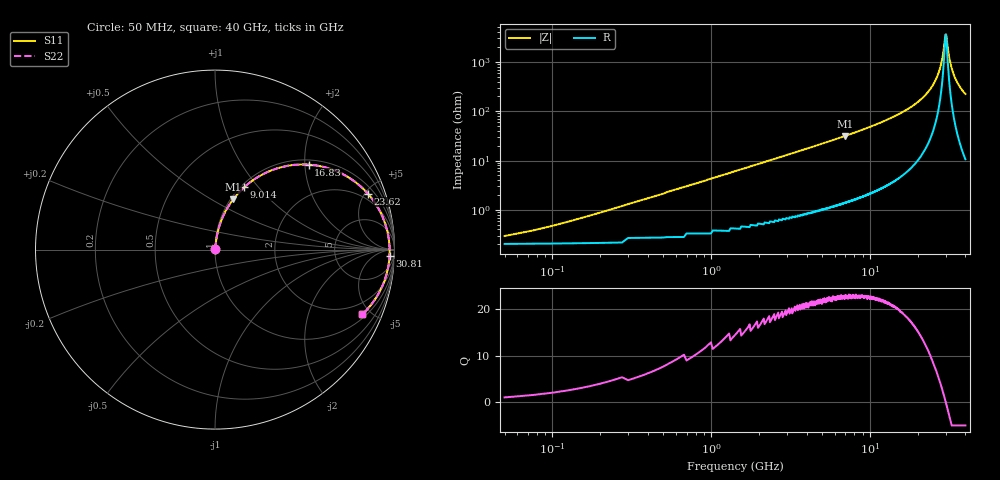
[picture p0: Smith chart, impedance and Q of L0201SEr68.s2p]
# MHZ S MA R 50
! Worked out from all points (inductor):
!   1601 points, 50 MHz to 40 GHz, reference 50 ohm
!   read as one part in series: L = 677 pH near 249.8 MHz
!   highest Q = 22.9 at 6.991 GHz (marker M1), where L = 719 pH
!   self-resonance near 30.11 GHz
!   S11 on the Smith chart (normalised r, x): 50 MHz: 1.00, +0.00; 9.014 GHz: 1.04, +0.85; 16.83 GHz: 1.11, +2.09; 23.62 GHz: 1.49, +5.21; 30.81 GHz: 28, -35; 40 GHz: 1.21, -4.46
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50  0.002973 45.7  0.998 -0.1  0.998 -0.1  0.002973 45.7
349.625  0.015 79.5  0.997 -0.9  0.997 -0.9  0.015 79.5
599.313  0.026 82.0  0.997 -1.5  0.997 -1.5  0.026 82.0
1023.781  0.044 82.8  0.995 -2.5  0.995 -2.5  0.044 82.8
1598.063  0.068 82.4  0.993 -3.9  0.993 -3.9  0.068 82.4
3595.563  0.153 78.4  0.981 -8.8  0.981 -8.8  0.153 78.4
6716.656  0.286 70.9  0.946 -16.6  0.946 -16.6  0.286 70.9
6991.313  0.298 70.2  0.942 -17.3  0.942 -17.3  0.298 70.2
9013.781  0.384 64.9  0.907 -22.5  0.907 -22.5  0.384 64.9
13383.31  0.568 52.7  0.797 -34.6  0.797 -34.6  0.568 52.7
16829  0.704 42.2  0.673 -44.7  0.673 -44.7  0.704 42.2
20025  0.814 32.0  0.531 -54.3  0.531 -54.3  0.814 32.0
23620.5  0.906 20.2  0.346 -64.5  0.346 -64.5  0.906 20.2
26691.66  0.954 10.3  0.181 -70.2  0.181 -70.2  0.954 10.3
28414.5  0.968 5.0  0.092 -66.9  0.092 -66.9  0.968 5.0
30012.5  0.973 0.3  0.027 -9.9  0.027 -9.9  0.973 0.3
30337.09  0.973 -0.7  0.029 22.4  0.029 22.4  0.973 -0.7
30811.5  0.973 -2.0  0.044 50.9  0.044 50.9  0.973 -2.0
31885.16  0.971 -5.0  0.09 68.6  0.09 68.6  0.971 -5.0
33358.31  0.964 -8.8  0.156 72.2  0.156 72.2  0.964 -8.8
36079.91  0.942 -15.4  0.267 69.9  0.267 69.9  0.942 -15.4
40000  0.897 -23.6  0.401 63.6  0.401 63.6  0.897 -23.6
